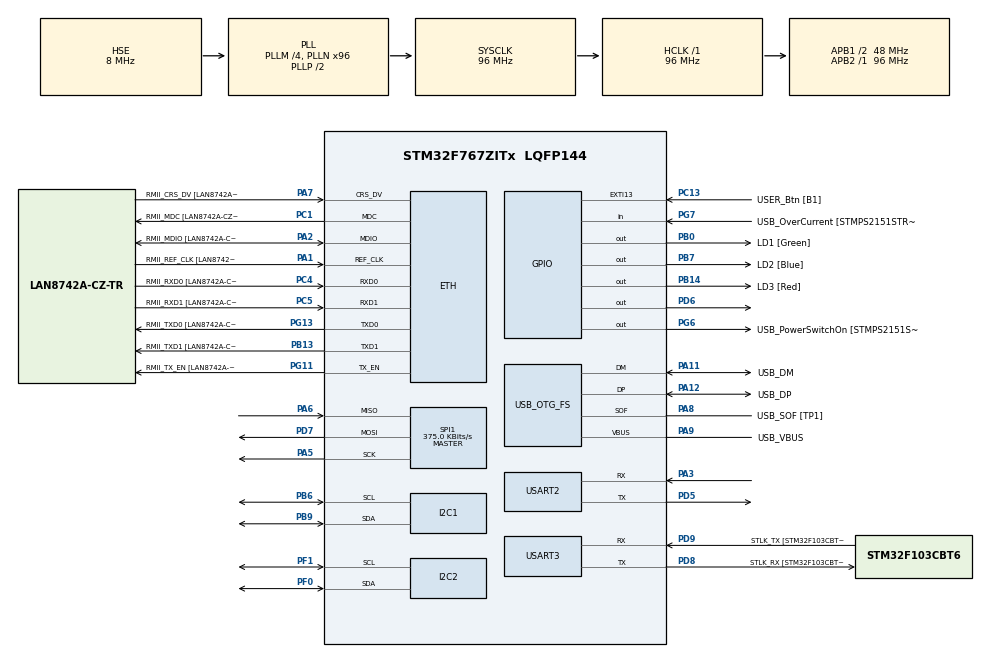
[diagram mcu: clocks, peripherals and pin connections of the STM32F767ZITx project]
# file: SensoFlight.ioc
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ETH.MediaInterface=HAL_ETH_RMII_MODE
ETH.PHY_Name=LAN8742A_PHY_ADDRESS
ETH.PHY_Value=0
ETH.PhyAddress=0
FREERTOS.Tasks01=defaultTask,0,256,StartDefaultTask,Default,NULL,Dynamic,NULL,NULL
FREERTOS.configUSE_NEWLIB_REENTRANT=1
I2C1.Timing=0x20303E5D
I2C2.Timing=0x20303E5D
Mcu.Family=STM32F7
Mcu.Name=STM32F767ZITx
Mcu.Package=LQFP144
NVIC.PriorityGroup=NVIC_PRIORITYGROUP_4
NVIC.TIM3_IRQn=true\:5\:0\:false\:false\:true\:true\:true\:true\:true
NVIC.TIM6_DAC_IRQn=true\:15\:0\:false\:false\:true\:false\:false\:true\:true
NVIC.TimeBase=TIM6_DAC_IRQn
NVIC.TimeBaseIP=TIM6
PA1.GPIO_Label=RMII_REF_CLK [LAN8742A-CZ-TR_REFCLK0]
PA1.Mode=RMII
PA1.Signal=ETH_REF_CLK
PA10.GPIO_Label=USB_ID
PA10.Signal=USB_OTG_FS_ID
PA11.GPIO_Label=USB_DM
PA11.Mode=Device_Only
PA11.Signal=USB_OTG_FS_DM
PA12.GPIO_Label=USB_DP
PA12.Mode=Device_Only
PA12.Signal=USB_OTG_FS_DP
PA13.GPIO_Label=TMS
PA13.Mode=Serial_Wire
PA13.Signal=SYS_JTMS-SWDIO
PA14.GPIO_Label=TCK
PA14.Mode=Serial_Wire
PA14.Signal=SYS_JTCK-SWCLK
PA2.GPIO_Label=RMII_MDIO [LAN8742A-CZ-TR_MDIO]
PA2.Mode=RMII
PA2.Signal=ETH_MDIO
PA3.Mode=Asynchronous
PA3.Signal=USART2_RX
PA5.Mode=Full_Duplex_Master
PA5.Signal=SPI1_SCK
PA6.Mode=Full_Duplex_Master
PA6.Signal=SPI1_MISO
PA7.GPIO_Label=RMII_CRS_DV [LAN8742A-CZ-TR_CRS_DV]
PA7.Mode=RMII
PA7.Signal=ETH_CRS_DV
PA8.GPIO_Label=USB_SOF [TP1]
PA8.Mode=Activate_SOF_FS
PA8.Signal=USB_OTG_FS_SOF
PA9.GPIO_Label=USB_VBUS
PA9.Mode=Activate_VBUS
PA9.Signal=USB_OTG_FS_VBUS
PB0.GPIO_Label=LD1 [Green]
PB0.Signal=GPIO_Output
PB13.GPIO_Label=RMII_TXD1 [LAN8742A-CZ-TR_TXD1]
PB13.Mode=RMII
PB13.Signal=ETH_TXD1
PB14.GPIO_Label=LD3 [Red]
PB14.Signal=GPIO_Output
PB3.GPIO_Label=SWO
PB3.Signal=SYS_JTDO-SWO
PB6.Mode=I2C
PB6.Signal=I2C1_SCL
PB7.GPIO_Label=LD2 [Blue]
PB7.Signal=GPIO_Output
PB9.Mode=I2C
PB9.Signal=I2C1_SDA
PC1.GPIO_Label=RMII_MDC [LAN8742A-CZ-TR_MDC]
PC1.Mode=RMII
PC1.Signal=ETH_MDC
PC13.GPIO_Label=USER_Btn [B1]
PC13.Signal=GPXTI13
PC14/OSC32_IN.Mode=LSE-External-Oscillator
PC14/OSC32_IN.Signal=RCC_OSC32_IN
PC15/OSC32_OUT.Mode=LSE-External-Oscillator
PC15/OSC32_OUT.Signal=RCC_OSC32_OUT
PC4.GPIO_Label=RMII_RXD0 [LAN8742A-CZ-TR_RXD0]
PC4.Mode=RMII
PC4.Signal=ETH_RXD0
PC5.GPIO_Label=RMII_RXD1 [LAN8742A-CZ-TR_RXD1]
PC5.Mode=RMII
PC5.Signal=ETH_RXD1
PD5.Mode=Asynchronous
PD5.Signal=USART2_TX
PD6.Signal=GPIO_Output
PD7.Mode=Full_Duplex_Master
PD7.Signal=SPI1_MOSI
PD8.GPIO_Label=STLK_RX [STM32F103CBT6_PA3]
PD8.Mode=Asynchronous
PD8.Signal=USART3_TX
PD9.GPIO_Label=STLK_TX [STM32F103CBT6_PA2]
PD9.Mode=Asynchronous
PD9.Signal=USART3_RX
PF0.Mode=I2C
PF0.Signal=I2C2_SDA
PF1.Mode=I2C
PF1.Signal=I2C2_SCL
PG11.GPIO_Label=RMII_TX_EN [LAN8742A-CZ-TR_TXEN]
PG11.Mode=RMII
PG11.Signal=ETH_TX_EN
PG13.GPIO_Label=RMII_TXD0 [LAN8742A-CZ-TR_TXD0]
PG13.Mode=RMII
PG13.Signal=ETH_TXD0
PG6.GPIO_Label=USB_PowerSwitchOn [STMPS2151STR_EN]
PG6.Signal=GPIO_Output
PG7.GPIO_Label=USB_OverCurrent [STMPS2151STR_FAULT]
PG7.Signal=GPIO_Input
PH0/OSC_IN.GPIO_Label=MCO [STM32F103CBT6_PA8]
PH0/OSC_IN.Mode=HSE-External-Clock-Source
PH0/OSC_IN.Signal=RCC_OSC_IN
PH1/OSC_OUT.Mode=HSE-External-Clock-Source
PH1/OSC_OUT.Signal=RCC_OSC_OUT
ProjectManager.HeapSize=0x200
ProjectManager.StackSize=0x400
ProjectManager.TargetToolchain=STM32CubeIDE
RCC.48MHZClocksFreq_Value=24000000
RCC.AHBFreq_Value=96000000
RCC.APB1CLKDivider=RCC_HCLK_DIV2
RCC.APB1Freq_Value=48000000
RCC.APB1TimFreq_Value=96000000
RCC.APB2Freq_Value=96000000
RCC.APB2TimFreq_Value=96000000
RCC.CortexFreq_Value=96000000
RCC.HCLKFreq_Value=96000000
RCC.HSE_VALUE=8000000
RCC.HSI_VALUE=16000000
RCC.PLLM=4
RCC.PLLMUL=RCC_PLL_MUL9
RCC.PLLN=96
RCC.PLLQ=4
RCC.PRESCALERUSB=RCC_USBCLKSOURCE_PLL_DIV1_5
RCC.SYSCLKFreq_VALUE=96000000
RCC.SYSCLKSource=RCC_SYSCLKSOURCE_PLLCLK
RCC.SYSCLKSourceVirtual=RCC_SYSCLKSOURCE_PLLCLK
RCC.USBFreq_Value=48000000
RCC.VCOOutputFreq_Value=192000000
SPI1.BaudRatePrescaler=SPI_BAUDRATEPRESCALER_256
SPI1.CalculateBaudRate=375.0 KBits/s
SPI1.DataSize=SPI_DATASIZE_8BIT
SPI1.Direction=SPI_DIRECTION_2LINES
SPI1.Mode=SPI_MODE_MASTER
SPI1.VirtualType=VM_MASTER
TIM3.Period=99
TIM3.Prescaler=8599
USART2.VirtualMode-Asynchronous=VM_ASYNC
USART3.VirtualMode-Asynchronous=VM_ASYNC
USB_OTG_FS.VirtualMode=Device_Only
VP_FREERTOS_VS_CMSIS_V1.Mode=CMSIS_V1
VP_SYS_VS_tim6.Mode=TIM6
VP_TIM3_VS_ClockSourceINT.Mode=Internal
board=NUCLEO-F767ZI

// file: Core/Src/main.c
/* USER CODE BEGIN Header */
/**
  ******************************************************************************
  * @file           : main.c
  * @brief          : Main program body
  ******************************************************************************
  * @attention
  *
  * Copyright (c) 2025 STMicroelectronics.
  * All rights reserved.
  *
  * This software is licensed under terms that can be found in the LICENSE file
  * in the root directory of this software component.
  * If no LICENSE file comes with this software, it is provided AS-IS.
  *
  ******************************************************************************
  */
/* USER CODE END Header */
#include "main.h"
#include "string.h"
#include "cmsis_os.h"

/* USER CODE BEGIN Includes */
#include"stdio.h"
#include "adxl375.h"
#include "lsm6dso32.h"
#include "sd.h"
#include "GY63.h"
/* USER CODE END Includes */

/* USER CODE BEGIN PTD */
QueueHandle_t sensorQueue;
QueueHandle_t uartQueue;
TaskHandle_t sensorTaskHandle;
TaskHandle_t UartTaskHandle;
GY63_HandleTypeDef hgy63;
#pragma pack(push, 1)
typedef struct {
   // uint32_t timestamp;
    int16_t adxl[3];
    int16_t lsm_accel[3];
    int16_t lsm_gyro[3];
    uint32_t Baro_P, Baro_T;

} SensorSample_t;
/* USER CODE END PTD */

#if defined ( __ICCARM__ ) /*!< IAR Compiler */
#pragma location=0x2007c000
ETH_DMADescTypeDef  DMARxDscrTab[ETH_RX_DESC_CNT]; /* Ethernet Rx DMA Descriptors */
#pragma location=0x2007c0a0
ETH_DMADescTypeDef  DMATxDscrTab[ETH_TX_DESC_CNT]; /* Ethernet Tx DMA Descriptors */

#elif defined ( __CC_ARM )  /* MDK ARM Compiler */

__attribute__((at(0x2007c000))) ETH_DMADescTypeDef  DMARxDscrTab[ETH_RX_DESC_CNT]; /* Ethernet Rx DMA Descriptors */
__attribute__((at(0x2007c0a0))) ETH_DMADescTypeDef  DMATxDscrTab[ETH_TX_DESC_CNT]; /* Ethernet Tx DMA Descriptors */

#elif defined ( __GNUC__ ) /* GNU Compiler */

ETH_DMADescTypeDef DMARxDscrTab[ETH_RX_DESC_CNT] __attribute__((section(".RxDecripSection"))); /* Ethernet Rx DMA Descriptors */
ETH_DMADescTypeDef DMATxDscrTab[ETH_TX_DESC_CNT] __attribute__((section(".TxDecripSection")));   /* Ethernet Tx DMA Descriptors */
#endif

ETH_TxPacketConfig TxConfig;

ETH_HandleTypeDef heth;

I2C_HandleTypeDef hi2c1;
I2C_HandleTypeDef hi2c2;

SPI_HandleTypeDef hspi1;

TIM_HandleTypeDef htim3;

UART_HandleTypeDef huart2;
UART_HandleTypeDef huart3;

PCD_HandleTypeDef hpcd_USB_OTG_FS;

osThreadId defaultTaskHandle;
/* USER CODE BEGIN PV */
int __io_putchar(int ch) {
    HAL_UART_Transmit(&huart3, (uint8_t *)&ch, 1, HAL_MAX_DELAY);
    return ch;
}
/* USER CODE END PV */

void SystemClock_Config(void);
static void MX_GPIO_Init(void);
static void MX_ETH_Init(void);
static void MX_USART3_UART_Init(void);
static void MX_USB_OTG_FS_PCD_Init(void);
static void MX_I2C1_Init(void);
static void MX_I2C2_Init(void);
static void MX_SPI1_Init(void);
static void MX_TIM3_Init(void);
static void MX_USART2_UART_Init(void);
void StartDefaultTask(void const * argument);

/* USER CODE BEGIN PFP */
void LoggingTask(void *params);  //  tell compiler this function exists
void SensorTask(void *params);
void UartTask(void *params);
void scan_i2c_bus(void)
{
    char msg[64];
    for (uint8_t addr = 1; addr < 127; addr++)
    {
        // 7-bit address shifted left by 1 for HAL
        if (HAL_I2C_IsDeviceReady(&hi2c1, addr << 1, 3, 10) == HAL_OK)
        {
            sprintf(msg, "I2C device found at address 0x%02X\r\n", addr);
            HAL_UART_Transmit(&huart3, (uint8_t *)msg, strlen(msg), HAL_MAX_DELAY);
        }
    }
    HAL_UART_Transmit(&huart3, (uint8_t *)"Scan complete.\r\n", 16, HAL_MAX_DELAY);
}

/* USER CODE END PFP */

int main(void)
{

  /* MCU Configuration--------------------------------------------------------*/

  /* Reset of all peripherals, Initializes the Flash interface and the Systick. */
  HAL_Init();

  /* Configure the system clock */
  SystemClock_Config();

  /* Initialize all configured peripherals */
  MX_GPIO_Init();
  MX_ETH_Init();
  MX_USART3_UART_Init();
  MX_USB_OTG_FS_PCD_Init();
  MX_I2C1_Init();
  MX_I2C2_Init();
  MX_SPI1_Init();
  MX_TIM3_Init();
  MX_USART2_UART_Init();
  /* USER CODE BEGIN 2 */
  SD_DetectCard();
  HAL_Delay(10);
  SD_Init();
  HAL_Delay(10);
  scan_i2c_bus();
  ADXL375_Init(&hi2c1);
  LSM6DSO32_Init(&hi2c1);
  if (GY63_Init(&hgy63,&hi2c1) == HAL_OK) {
         printf("GY-63 init OK\r\n");
     } else {
         printf("GY-63 init FAILED\r\n");
     }

 // printf("Loop running...\r\n");

 sensorQueue = xQueueCreate(10, sizeof(SensorSample_t));
 uartQueue = xQueueCreate(10, sizeof(SensorSample_t));
    xTaskCreate(SensorTask, "Sensor", 512, NULL, 2, &sensorTaskHandle);
   // xTaskCreate(LoggingTask, "Logger", 512, NULL, 1, NULL);
    xTaskCreate(UartTask, "UartTask", 256, NULL, 1, &UartTaskHandle);
    HAL_TIM_Base_Start_IT(&htim3);

    vTaskStartScheduler();

  /* USER CODE END 2 */

  /* Create the thread(s) */
  /* definition and creation of defaultTask */
  osThreadDef(defaultTask, StartDefaultTask, osPriorityNormal, 0, 256);
  defaultTaskHandle = osThreadCreate(osThread(defaultTask), NULL);

  /* Start scheduler */
  osKernelStart();

  /* We should never get here as control is now taken by the scheduler */

  /* Infinite loop */
  while (1)
  {

  }
}

void SystemClock_Config(void)
{
  RCC_OscInitTypeDef RCC_OscInitStruct = {0};
  RCC_ClkInitTypeDef RCC_ClkInitStruct = {0};

  /** Configure LSE Drive Capability
  */
  HAL_PWR_EnableBkUpAccess();

  /** Configure the main internal regulator output voltage
  */
  __HAL_RCC_PWR_CLK_ENABLE();
  __HAL_PWR_VOLTAGESCALING_CONFIG(PWR_REGULATOR_VOLTAGE_SCALE3);

  /** Initializes the RCC Oscillators according to the specified parameters
  * in the RCC_OscInitTypeDef structure.
  */
  RCC_OscInitStruct.OscillatorType = RCC_OSCILLATORTYPE_HSE;
  RCC_OscInitStruct.HSEState = RCC_HSE_BYPASS;
  RCC_OscInitStruct.PLL.PLLState = RCC_PLL_ON;
  RCC_OscInitStruct.PLL.PLLSource = RCC_PLLSOURCE_HSE;
  RCC_OscInitStruct.PLL.PLLM = 4;
  RCC_OscInitStruct.PLL.PLLN = 96;
  RCC_OscInitStruct.PLL.PLLP = RCC_PLLP_DIV2;
  RCC_OscInitStruct.PLL.PLLQ = 4;
  RCC_OscInitStruct.PLL.PLLR = 2;
  if (HAL_RCC_OscConfig(&RCC_OscInitStruct) != HAL_OK)
  {
    Error_Handler();
  }

  /** Activate the Over-Drive mode
  */
  if (HAL_PWREx_EnableOverDrive() != HAL_OK)
  {
    Error_Handler();
  }

  /** Initializes the CPU, AHB and APB buses clocks
  */
  RCC_ClkInitStruct.ClockType = RCC_CLOCKTYPE_HCLK|RCC_CLOCKTYPE_SYSCLK
                              |RCC_CLOCKTYPE_PCLK1|RCC_CLOCKTYPE_PCLK2;
  RCC_ClkInitStruct.SYSCLKSource = RCC_SYSCLKSOURCE_PLLCLK;
  RCC_ClkInitStruct.AHBCLKDivider = RCC_SYSCLK_DIV1;
  RCC_ClkInitStruct.APB1CLKDivider = RCC_HCLK_DIV2;
  RCC_ClkInitStruct.APB2CLKDivider = RCC_HCLK_DIV1;

  if (HAL_RCC_ClockConfig(&RCC_ClkInitStruct, FLASH_LATENCY_3) != HAL_OK)
  {
    Error_Handler();
  }
}

static void MX_ETH_Init(void)
{

   static uint8_t MACAddr[6];

  heth.Instance = ETH;
  MACAddr[0] = 0x00;
  MACAddr[1] = 0x80;
  MACAddr[2] = 0xE1;
  MACAddr[3] = 0x00;
  MACAddr[4] = 0x00;
  MACAddr[5] = 0x00;
  heth.Init.MACAddr = &MACAddr[0];
  heth.Init.MediaInterface = HAL_ETH_RMII_MODE;
  heth.Init.TxDesc = DMATxDscrTab;
  heth.Init.RxDesc = DMARxDscrTab;
  heth.Init.RxBuffLen = 1524;

  if (HAL_ETH_Init(&heth) != HAL_OK)
  {
    Error_Handler();
  }

  memset(&TxConfig, 0 , sizeof(ETH_TxPacketConfig));
  TxConfig.Attributes = ETH_TX_PACKETS_FEATURES_CSUM | ETH_TX_PACKETS_FEATURES_CRCPAD;
  TxConfig.ChecksumCtrl = ETH_CHECKSUM_IPHDR_PAYLOAD_INSERT_PHDR_CALC;
  TxConfig.CRCPadCtrl = ETH_CRC_PAD_INSERT;

}

static void MX_I2C1_Init(void)
{

  hi2c1.Instance = I2C1;
  hi2c1.Init.Timing = 0x20303E5D;
  hi2c1.Init.OwnAddress1 = 0;
  hi2c1.Init.AddressingMode = I2C_ADDRESSINGMODE_7BIT;
  hi2c1.Init.DualAddressMode = I2C_DUALADDRESS_DISABLE;
  hi2c1.Init.OwnAddress2 = 0;
  hi2c1.Init.OwnAddress2Masks = I2C_OA2_NOMASK;
  hi2c1.Init.GeneralCallMode = I2C_GENERALCALL_DISABLE;
  hi2c1.Init.NoStretchMode = I2C_NOSTRETCH_DISABLE;
  if (HAL_I2C_Init(&hi2c1) != HAL_OK)
  {
    Error_Handler();
  }

  /** Configure Analogue filter
  */
  if (HAL_I2CEx_ConfigAnalogFilter(&hi2c1, I2C_ANALOGFILTER_ENABLE) != HAL_OK)
  {
    Error_Handler();
  }

  /** Configure Digital filter
  */
  if (HAL_I2CEx_ConfigDigitalFilter(&hi2c1, 0) != HAL_OK)
  {
    Error_Handler();
  }

}

static void MX_I2C2_Init(void)
{

  hi2c2.Instance = I2C2;
  hi2c2.Init.Timing = 0x20303E5D;
  hi2c2.Init.OwnAddress1 = 0;
  hi2c2.Init.AddressingMode = I2C_ADDRESSINGMODE_7BIT;
  hi2c2.Init.DualAddressMode = I2C_DUALADDRESS_DISABLE;
  hi2c2.Init.OwnAddress2 = 0;
  hi2c2.Init.OwnAddress2Masks = I2C_OA2_NOMASK;
  hi2c2.Init.GeneralCallMode = I2C_GENERALCALL_DISABLE;
  hi2c2.Init.NoStretchMode = I2C_NOSTRETCH_DISABLE;
  if (HAL_I2C_Init(&hi2c2) != HAL_OK)
  {
    Error_Handler();
  }

  /** Configure Analogue filter
  */
  if (HAL_I2CEx_ConfigAnalogFilter(&hi2c2, I2C_ANALOGFILTER_ENABLE) != HAL_OK)
  {
    Error_Handler();
  }

  /** Configure Digital filter
  */
  if (HAL_I2CEx_ConfigDigitalFilter(&hi2c2, 0) != HAL_OK)
  {
    Error_Handler();
  }

}

static void MX_SPI1_Init(void)
{

  /* SPI1 parameter configuration*/
  hspi1.Instance = SPI1;
  hspi1.Init.Mode = SPI_MODE_MASTER;
  hspi1.Init.Direction = SPI_DIRECTION_2LINES;
  hspi1.Init.DataSize = SPI_DATASIZE_8BIT;
  hspi1.Init.CLKPolarity = SPI_POLARITY_LOW;
  hspi1.Init.CLKPhase = SPI_PHASE_1EDGE;
  hspi1.Init.NSS = SPI_NSS_SOFT;
  hspi1.Init.BaudRatePrescaler = SPI_BAUDRATEPRESCALER_256;
  hspi1.Init.FirstBit = SPI_FIRSTBIT_MSB;
  hspi1.Init.TIMode = SPI_TIMODE_DISABLE;
  hspi1.Init.CRCCalculation = SPI_CRCCALCULATION_DISABLE;
  hspi1.Init.CRCPolynomial = 7;
  hspi1.Init.CRCLength = SPI_CRC_LENGTH_DATASIZE;
  hspi1.Init.NSSPMode = SPI_NSS_PULSE_ENABLE;
  if (HAL_SPI_Init(&hspi1) != HAL_OK)
  {
    Error_Handler();
  }

}

static void MX_TIM3_Init(void)
{

  TIM_ClockConfigTypeDef sClockSourceConfig = {0};
  TIM_MasterConfigTypeDef sMasterConfig = {0};

  htim3.Instance = TIM3;
  htim3.Init.Prescaler = 8599;
  htim3.Init.CounterMode = TIM_COUNTERMODE_UP;
  htim3.Init.Period = 99;
  htim3.Init.ClockDivision = TIM_CLOCKDIVISION_DIV1;
  htim3.Init.AutoReloadPreload = TIM_AUTORELOAD_PRELOAD_DISABLE;
  if (HAL_TIM_Base_Init(&htim3) != HAL_OK)
  {
    Error_Handler();
  }
  sClockSourceConfig.ClockSource = TIM_CLOCKSOURCE_INTERNAL;
  if (HAL_TIM_ConfigClockSource(&htim3, &sClockSourceConfig) != HAL_OK)
  {
    Error_Handler();
  }
  sMasterConfig.MasterOutputTrigger = TIM_TRGO_RESET;
  sMasterConfig.MasterSlaveMode = TIM_MASTERSLAVEMODE_DISABLE;
  if (HAL_TIMEx_MasterConfigSynchronization(&htim3, &sMasterConfig) != HAL_OK)
  {
    Error_Handler();
  }

}

static void MX_USART2_UART_Init(void)
{

  huart2.Instance = USART2;
  huart2.Init.BaudRate = 115200;
  huart2.Init.WordLength = UART_WORDLENGTH_8B;
  huart2.Init.StopBits = UART_STOPBITS_1;
  huart2.Init.Parity = UART_PARITY_NONE;
  huart2.Init.Mode = UART_MODE_TX_RX;
  huart2.Init.HwFlowCtl = UART_HWCONTROL_NONE;
  huart2.Init.OverSampling = UART_OVERSAMPLING_16;
  huart2.Init.OneBitSampling = UART_ONE_BIT_SAMPLE_DISABLE;
  huart2.AdvancedInit.AdvFeatureInit = UART_ADVFEATURE_NO_INIT;
  if (HAL_UART_Init(&huart2) != HAL_OK)
  {
    Error_Handler();
  }

}

static void MX_USART3_UART_Init(void)
{

  huart3.Instance = USART3;
  huart3.Init.BaudRate = 115200;
  huart3.Init.WordLength = UART_WORDLENGTH_8B;
  huart3.Init.StopBits = UART_STOPBITS_1;
  huart3.Init.Parity = UART_PARITY_NONE;
  huart3.Init.Mode = UART_MODE_TX_RX;
  huart3.Init.HwFlowCtl = UART_HWCONTROL_NONE;
  huart3.Init.OverSampling = UART_OVERSAMPLING_16;
  huart3.Init.OneBitSampling = UART_ONE_BIT_SAMPLE_DISABLE;
  huart3.AdvancedInit.AdvFeatureInit = UART_ADVFEATURE_NO_INIT;
  if (HAL_UART_Init(&huart3) != HAL_OK)
  {
    Error_Handler();
  }

}

static void MX_USB_OTG_FS_PCD_Init(void)
{

  hpcd_USB_OTG_FS.Instance = USB_OTG_FS;
  hpcd_USB_OTG_FS.Init.dev_endpoints = 6;
  hpcd_USB_OTG_FS.Init.speed = PCD_SPEED_FULL;
  hpcd_USB_OTG_FS.Init.dma_enable = DISABLE;
  hpcd_USB_OTG_FS.Init.phy_itface = PCD_PHY_EMBEDDED;
  hpcd_USB_OTG_FS.Init.Sof_enable = ENABLE;
  hpcd_USB_OTG_FS.Init.low_power_enable = DISABLE;
  hpcd_USB_OTG_FS.Init.lpm_enable = DISABLE;
  hpcd_USB_OTG_FS.Init.vbus_sensing_enable = ENABLE;
  hpcd_USB_OTG_FS.Init.use_dedicated_ep1 = DISABLE;
  if (HAL_PCD_Init(&hpcd_USB_OTG_FS) != HAL_OK)
  {
    Error_Handler();
  }

}

static void MX_GPIO_Init(void)
{
  GPIO_InitTypeDef GPIO_InitStruct = {0};

  /* GPIO Ports Clock Enable */
  __HAL_RCC_GPIOC_CLK_ENABLE();
  __HAL_RCC_GPIOF_CLK_ENABLE();
  __HAL_RCC_GPIOH_CLK_ENABLE();
  __HAL_RCC_GPIOA_CLK_ENABLE();
  __HAL_RCC_GPIOB_CLK_ENABLE();
  __HAL_RCC_GPIOD_CLK_ENABLE();
  __HAL_RCC_GPIOG_CLK_ENABLE();

  /*Configure GPIO pin Output Level */
  HAL_GPIO_WritePin(GPIOB, LD1_Pin|LD3_Pin|LD2_Pin, GPIO_PIN_RESET);

  /*Configure GPIO pin Output Level */
  HAL_GPIO_WritePin(USB_PowerSwitchOn_GPIO_Port, USB_PowerSwitchOn_Pin, GPIO_PIN_RESET);

  /*Configure GPIO pin Output Level */
  HAL_GPIO_WritePin(GPIOD, GPIO_PIN_6, GPIO_PIN_RESET);

  /*Configure GPIO pin : USER_Btn_Pin */
  GPIO_InitStruct.Pin = USER_Btn_Pin;
  GPIO_InitStruct.Mode = GPIO_MODE_IT_RISING;
  GPIO_InitStruct.Pull = GPIO_NOPULL;
  HAL_GPIO_Init(USER_Btn_GPIO_Port, &GPIO_InitStruct);

  /*Configure GPIO pins : LD1_Pin LD3_Pin LD2_Pin */
  GPIO_InitStruct.Pin = LD1_Pin|LD3_Pin|LD2_Pin;
  GPIO_InitStruct.Mode = GPIO_MODE_OUTPUT_PP;
  GPIO_InitStruct.Pull = GPIO_NOPULL;
  GPIO_InitStruct.Speed = GPIO_SPEED_FREQ_LOW;
  HAL_GPIO_Init(GPIOB, &GPIO_InitStruct);

  /*Configure GPIO pin : USB_PowerSwitchOn_Pin */
  GPIO_InitStruct.Pin = USB_PowerSwitchOn_Pin;
  GPIO_InitStruct.Mode = GPIO_MODE_OUTPUT_PP;
  GPIO_InitStruct.Pull = GPIO_NOPULL;
  GPIO_InitStruct.Speed = GPIO_SPEED_FREQ_LOW;
  HAL_GPIO_Init(USB_PowerSwitchOn_GPIO_Port, &GPIO_InitStruct);

  /*Configure GPIO pin : USB_OverCurrent_Pin */
  GPIO_InitStruct.Pin = USB_OverCurrent_Pin;
  GPIO_InitStruct.Mode = GPIO_MODE_INPUT;
  GPIO_InitStruct.Pull = GPIO_NOPULL;
  HAL_GPIO_Init(USB_OverCurrent_GPIO_Port, &GPIO_InitStruct);

  /*Configure GPIO pin : PD6 */
  GPIO_InitStruct.Pin = GPIO_PIN_6;
  GPIO_InitStruct.Mode = GPIO_MODE_OUTPUT_PP;
  GPIO_InitStruct.Pull = GPIO_NOPULL;
  GPIO_InitStruct.Speed = GPIO_SPEED_FREQ_LOW;
  HAL_GPIO_Init(GPIOD, &GPIO_InitStruct);

}

/* USER CODE BEGIN 4 */
void LoggingTask(void *params)
{
	SensorSample_t sample;
	 uint8_t sdBuffer[512];
	 uint16_t index = 0;
	 uint32_t nextBlock = 100;

    for (;;) {
        if (xQueueReceive(sensorQueue, &sample, portMAX_DELAY)) {
        	if (index + sizeof(SensorSample_t) > 512) {
        	                // Write full block
        	                SD_WriteBlock(nextBlock, sdBuffer);
        	                nextBlock++;  // 🟢 Increment block number for next write
        	                index = 0;
        	                memset(sdBuffer, 0, 512);
        	}
        	 memcpy(&sdBuffer[index], &sample, sizeof(SensorSample_t));
        	            index += sizeof(SensorSample_t);
        }
    }
}
void UartTask(void *params)
{
	 SensorSample_t sample;
	 //static uint8_t Counter = 1;
	    for (;;)
	    {
	        ulTaskNotifyTake(pdTRUE, portMAX_DELAY);  // Wait for 10 Hz notification

	      //  printf("%d",sizeof(sample));
	        if (xQueueReceive(uartQueue, &sample, 0) == pdPASS) {
	            HAL_UART_Transmit(&huart2, (uint8_t*)&sample, sizeof(sample), HAL_MAX_DELAY);

	        }
	    }

}
void SensorTask(void *params)
{
	SensorSample_t sample;
	static uint8_t uartCounter = 0;
	float pressure, temperature;
    for (;;) {
        // Wait for 100Hz timer interrupt
    	ulTaskNotifyTake(pdTRUE, portMAX_DELAY);

    	ADXL375_ReadAccel(&hi2c1, sample.adxl);
        LSM6DSO32_ReadAccelGyro(&hi2c1, sample.lsm_accel, sample.lsm_gyro);
        GY63_Read(&hi2c1, &sample.Baro_P, &sample.Baro_T); //Baro

        //GY63_Convert(&hgy63, sample.Baro_P, sample.Baro_T, &pressure, &temperature);
        	//printf("Pressure raw: %lu, Temperature raw: %lu |  P=%.2f mbar  T=%.2f C\r\n", sample.Baro_P, sample.Baro_T, pressure, temperature);
        	//printf("Timestamp: %u\n", sample.timestamp);
            //printf("ADXL:X=%d, Y=%d, Z=%d\r\n", sample.adxl[0], sample.adxl[1], sample.adxl[2]);
            //  printf("LSM Acc: X=%d, Y=%d, Z=%d\r\n", sample.lsm_accel[0], sample.lsm_accel[1], sample.lsm_accel[2]);
            //  printf("LSM Gyro:X=%d, Y=%d, Z=%d\r\n", sample.lsm_gyro[0], sample.lsm_gyro[1], sample.lsm_gyro[2]);
        	//printf("%d",sizeof(sample));
        xQueueSend(sensorQueue, &sample, 0);
         if (++uartCounter >= 10)
               {
        	 	   xQueueSend(uartQueue, &sample, 0);
                   uartCounter = 0;

                   xTaskNotifyGive(UartTaskHandle);  // wake UART task
               }

    }
}

/* USER CODE END 4 */

void StartDefaultTask(void const * argument)
{
  for(;;)
  {
    osDelay(1);
  }
}

void HAL_TIM_PeriodElapsedCallback(TIM_HandleTypeDef *htim)
{
  if (htim->Instance == TIM6)
  {
    HAL_IncTick();
  }
  /* USER CODE BEGIN Callback 1 */
  else if (htim->Instance == TIM3)  // your 100 Hz timer
      {
	  static uint8_t count = 0;
	  count++;
	  if (count >= 10) {
	      HAL_GPIO_TogglePin(GPIOB, GPIO_PIN_0);
	      count = 0;
	  }
          BaseType_t xHigherPriorityTaskWoken = pdFALSE;
          vTaskNotifyGiveFromISR(sensorTaskHandle, &xHigherPriorityTaskWoken);
          portYIELD_FROM_ISR(xHigherPriorityTaskWoken);
      }
  /* USER CODE END Callback 1 */
}

void Error_Handler(void)
{
  __disable_irq();
  while (1)
  {
  }
}
